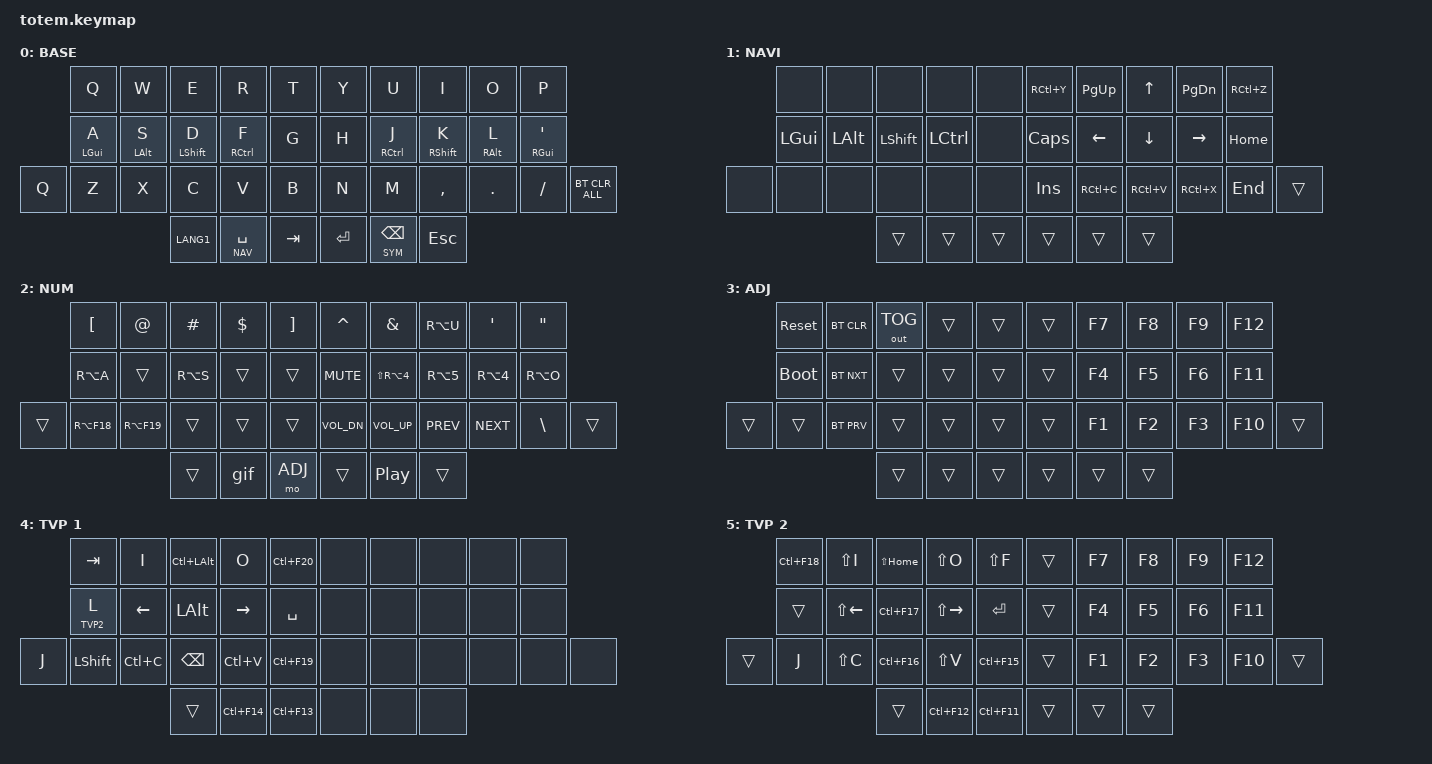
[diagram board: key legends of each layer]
//
//                                                        ▀▀▀▀▀     ▀▀▀▀▀          ▀▀█▀▀
//                                                        ▄▀▀▀▄  ▄  ▄▀▀▀▄  ▄  ▄▀▀▀▄  █  ▄▀▀▀▄
//                                                        █   █  █  █   █  █  █   █  █  █   █
//                                                         ▀▀▀   █   ▀▀▀   █   ▀▀▀   ▀   ▀▀▀
//                                                               █      ▄▄▄█▄▄▄    █   █  
//                                                               ▀      █  █  █     █▄█
//                                                             ▀▀▀▀▀    █  █  █      ▀
//                                                                      ▀  ▀  ▀
//
// ▄▄▄▄▄▄▄▄▄▄▄▄▄▄▄▄▄▄▄▄▄▄▄▄▄▄▄▄▄▄▄▄▄▄▄▄▄▄▄▄▄▄▄▄▄▄▄▄▄▄▄▄▄▄▄▄▄▄▄▄▄▄▄▄▄▄▄▄▄▄▄▄▄▄▄▄▄▄▄▄▄▄▄▄▄▄▄▄▄▄▄▄▄▄▄▄▄▄▄▄▄▄▄▄▄▄▄▄▄▄▄▄▄▄▄▄▄▄▄▄▄▄▄▄▄▄▄▄▄▄▄▄▄▄▄▄▄▄▄▄▄▄▄▄▄▄▄▄▄

#include <behaviors.dtsi>
#include <dt-bindings/zmk/bt.h>
#include <dt-bindings/zmk/keys.h>
#include <dt-bindings/zmk/outputs.h>

#define BASE 0
#define NAV  1
#define SYM  2
#define ADJ  3
#define TVP1 4
#define TVP2 5

&mt {
    quick-tap-ms = <100>;
    global-quick-tap;
    flavor = "tap-preferred";
    tapping-term-ms = <170>;
};

/ {
    combos {
        compatible = "zmk,combos";

        combo_esc {
            timeout-ms = <50>;
            key-positions = <0 1>;
            bindings = <&kp ESC>;
        };

        combo_tvp {
            timeout-ms = <100>;
            key-positions = <11 12 13>;
            bindings = <&tog TVP1>;
        };
    };

    macros {
        gif: gif {
            label = "giphy";
            compatible = "zmk,behavior-macro";
            #binding-cells = <0>;
            bindings =
                <&macro_press>,
                <&kp LSHFT>,
                <&macro_tap>,
                <&kp N2>,
                <&macro_release>,
                <&kp LSHFT>,
                <&macro_tap>,
                <&kp G &kp I &kp F>;
        };
    };

    keymap {
        compatible = "zmk,keymap";

        // ▄▄▄▄▄▄▄▄▄▄▄▄▄▄▄▄▄▄▄▄▄▄▄▄▄▄▄▄▄▄▄▄▄▄▄▄▄▄▄▄▄▄▄▄▄▄▄▄▄▄▄▄▄▄▄▄▄▄▄▄▄▄▄▄▄▄▄▄▄▄▄▄▄▄▄▄▄▄▄▄▄▄▄▄▄▄▄▄▄▄▄▄▄▄▄▄▄▄▄▄▄▄▄▄▄▄▄▄▄▄▄▄▄▄▄▄▄▄▄▄▄▄▄▄▄▄▄▄▄▄▄▄▄▄▄▄▄▄▄▄▄▄▄▄▄▄▄▄▄

        BASE {
            // ┏━━━━━━━━━━━━━━━━━━━━━━━━━━━━━━━━━━━━━━━┓

            label = "BASE";

            // ┗━━━━━━━━━━━━━━━━━━━━━━━━━━━━━━━━━━━━━━━┛
            //             ┏━━━━━━━━━━━┳━━━━━━━━━━━┳━━━━━━━━━━━┳━━━━━━━━━━━┳━━━━━━━━━━━┓   ┏━━━━━━━━━━━┳━━━━━━━━━━━┳━━━━━━━━━━━┳━━━━━━━━━━━┳━━━━━━━━━━━┓
            //             ┃     Q     ┃     W     ┃     F     ┃     P     ┃     G     ┃   ┃     J     ┃     L     ┃     U     ┃     Y     ┃     ;     ┃
            //             ┣━━━━━━━━━━━╋━━━━━━━━━━━╋━━━━━━━━━━━╋━━━━━━━━━━━╋━━━━━━━━━━━┫   ┣━━━━━━━━━━━╋━━━━━━━━━━━╋━━━━━━━━━━━╋━━━━━━━━━━━╋━━━━━━━━━━━┫
            //             ┃     A     ┃     R     ┃     S     ┃     T     ┃     D     ┃   ┃     H     ┃     N     ┃     E     ┃     I     ┃     O     ┃
            // ┏━━━━━━━━━━━╋━━━━━━━━━━━╋━━━━━━━━━━━╋━━━━━━━━━━━╋━━━━━━━━━━━╋━━━━━━━━━━━┫   ┣━━━━━━━━━━━╋━━━━━━━━━━━╋━━━━━━━━━━━╋━━━━━━━━━━━╋━━━━━━━━━━━╋━━━━━━━━━━━┓
            // ┃     Q     ┃     Z     ┃     X     ┃     C     ┃     V     ┃     B     ┃   ┃     K     ┃     M     ┃     ,     ┃     .     ┃     /     ┃     \     ┃
            // ┗━━━━━━━━━━━┻━━━━━━━━━━━┻━━━━━━━━━━━╋━━━━━━━━━━━╋━━━━━━━━━━━╋━━━━━━━━━━━┫   ┣━━━━━━━━━━━╋━━━━━━━━━━━╋━━━━━━━━━━━╋━━━━━━━━━━━┻━━━━━━━━━━━┻━━━━━━━━━━━┛
            //                                     ┃    DEL    ┃    TAB    ┃    SPC    ┃   ┃   ENTER   ┃           ┃   BSPC    ┃
            //                                     ┗━━━━━━━━━━━┻━━━━━━━━━━━┻━━━━━━━━━━━┛   ┗━━━━━━━━━━━┻━━━━━━━━━━━┻━━━━━━━━━━━┛

            bindings = <
       &kp Q       &kp W       &kp E             &kp R          &kp T      &kp Y    &kp U              &kp I              &kp O       &kp P
       &mt LGUI A  &mt LALT S  &mt LEFT_SHIFT D  &mt RCTRL F    &kp G      &kp H    &mt RCTRL J        &mt RIGHT_SHIFT K  &mt RALT L  &mt RGUI SQT
&kp Q  &kp Z       &kp X       &kp C             &kp V          &kp B      &kp N    &kp M              &kp COMMA          &kp DOT     &kp SLASH     &bt BT_CLR_ALL
                               &kp LANG1         &lt NAV SPACE  &kp TAB    &kp RET  &lt SYM BACKSPACE  &kp ESC
            >;
        };

        // ▄▄▄▄▄▄▄▄▄▄▄▄▄▄▄▄▄▄▄▄▄▄▄▄▄▄▄▄▄▄▄▄▄▄▄▄▄▄▄▄▄▄▄▄▄▄▄▄▄▄▄▄▄▄▄▄▄▄▄▄▄▄▄▄▄▄▄▄▄▄▄▄▄▄▄▄▄▄▄▄▄▄▄▄▄▄▄▄▄▄▄▄▄▄▄▄▄▄▄▄▄▄▄▄▄▄▄▄▄▄▄▄▄▄▄▄▄▄▄▄▄▄▄▄▄▄▄▄▄▄▄▄▄▄▄▄▄▄▄▄▄▄▄▄▄▄▄▄▄

        NAV {
            // ┏━━━━━━━━━━━━━━━━━━━━━━━━━━━━━━━━━━━━━━━┓

            label = "NAVI";

            // ┗━━━━━━━━━━━━━━━━━━━━━━━━━━━━━━━━━━━━━━━┛
            //             ┏━━━━━━━━━━━┳━━━━━━━━━━━┳━━━━━━━━━━━┳━━━━━━━━━━━┳━━━━━━━━━━━┓   ┏━━━━━━━━━━━┳━━━━━━━━━━━┳━━━━━━━━━━━┳━━━━━━━━━━━┳━━━━━━━━━━━┓
            //             ┃           ┃           ┃     UP    ┃           ┃     {     ┃   ┃     }     ┃     7     ┃     8     ┃     9     ┃     +     ┃
            //             ┣━━━━━━━━━━━╋━━━━━━━━━━━╋━━━━━━━━━━━╋━━━━━━━━━━━╋━━━━━━━━━━━┫   ┣━━━━━━━━━━━╋━━━━━━━━━━━╋━━━━━━━━━━━╋━━━━━━━━━━━╋━━━━━━━━━━━┫
            //             ┃   SHIFT   ┃   LEFT    ┃    DOWN   ┃   RIGHT   ┃     [     ┃   ┃     ]     ┃     4     ┃     5     ┃     6     ┃     -     ┃
            // ┏━━━━━━━━━━━╋━━━━━━━━━━━╋━━━━━━━━━━━╋━━━━━━━━━━━╋━━━━━━━━━━━╋━━━━━━━━━━━┫   ┣━━━━━━━━━━━╋━━━━━━━━━━━╋━━━━━━━━━━━╋━━━━━━━━━━━╋━━━━━━━━━━━╋━━━━━━━━━━━┓
            // ┃           ┃           ┃   P UP    ┃  C LOCK   ┃  P DOWN   ┃     (     ┃   ┃     )     ┃     1     ┃     2     ┃     3     ┃     *     ┃           ┃
            // ┗━━━━━━━━━━━┻━━━━━━━━━━━┻━━━━━━━━━━━╋━━━━━━━━━━━╋━━━━━━━━━━━╋━━━━━━━━━━━┫   ┣━━━━━━━━━━━╋━━━━━━━━━━━╋━━━━━━━━━━━╋━━━━━━━━━━━┻━━━━━━━━━━━┻━━━━━━━━━━━┛
            //                                     ┃           ┃    TAB    ┃    SPC    ┃   ┃    DEL    ┃     0     ┃           ┃
            //                                     ┗━━━━━━━━━━━┻━━━━━━━━━━━┻━━━━━━━━━━━┛   ┗━━━━━━━━━━━┻━━━━━━━━━━━┻━━━━━━━━━━━┛

            bindings = <
       &none         &none         &none           &none      &none     &kp RC(Y)     &kp PG_UP  &kp UP     &kp PAGE_DOWN  &kp RC(Z)
       &kp LEFT_GUI  &kp LEFT_ALT  &kp LEFT_SHIFT  &kp LCTRL  &none     &kp CAPSLOCK  &kp LEFT   &kp DOWN   &kp RIGHT      &kp HOME
&none  &none         &none         &none           &none      &none     &kp INSERT    &kp RC(C)  &kp RC(V)  &kp RC(X)      &kp END    &trans
                                   &trans          &trans     &trans    &trans        &trans     &trans
            >;
        };

        // ▄▄▄▄▄▄▄▄▄▄▄▄▄▄▄▄▄▄▄▄▄▄▄▄▄▄▄▄▄▄▄▄▄▄▄▄▄▄▄▄▄▄▄▄▄▄▄▄▄▄▄▄▄▄▄▄▄▄▄▄▄▄▄▄▄▄▄▄▄▄▄▄▄▄▄▄▄▄▄▄▄▄▄▄▄▄▄▄▄▄▄▄▄▄▄▄▄▄▄▄▄▄▄▄▄▄▄▄▄▄▄▄▄▄▄▄▄▄▄▄▄▄▄▄▄▄▄▄▄▄▄▄▄▄▄▄▄▄▄▄▄▄▄▄▄▄▄▄▄

        NUM {
            // ┏━━━━━━━━━━━━━━━━━━━━━━━━━━━━━━━━━━━━━━━┓

            label = "NUM";

            // ┗━━━━━━━━━━━━━━━━━━━━━━━━━━━━━━━━━━━━━━━┛
            //             ┏━━━━━━━━━━━┳━━━━━━━━━━━┳━━━━━━━━━━━┳━━━━━━━━━━━┳━━━━━━━━━━━┓   ┏━━━━━━━━━━━┳━━━━━━━━━━━┳━━━━━━━━━━━┳━━━━━━━━━━━┳━━━━━━━━━━━┓
            //             ┃     !     ┃     @     ┃     #     ┃     $     ┃     %     ┃   ┃     ˆ     ┃     &     ┃     Ü     ┃     '     ┃     "     ┃
            //             ┣━━━━━━━━━━━╋━━━━━━━━━━━╋━━━━━━━━━━━╋━━━━━━━━━━━╋━━━━━━━━━━━┫   ┣━━━━━━━━━━━╋━━━━━━━━━━━╋━━━━━━━━━━━╋━━━━━━━━━━━╋━━━━━━━━━━━┫
            //             ┃     Ä     ┃           ┃    SZ     ┃           ┃           ┃   ┃   MUTE    ┃   YEN     ┃   EURO    ┃  POUND    ┃     Ö     ┃
            // ┏━━━━━━━━━━━╋━━━━━━━━━━━╋━━━━━━━━━━━╋━━━━━━━━━━━╋━━━━━━━━━━━╋━━━━━━━━━━━┫   ┣━━━━━━━━━━━╋━━━━━━━━━━━╋━━━━━━━━━━━╋━━━━━━━━━━━╋━━━━━━━━━━━╋━━━━━━━━━━━┓
            // ┃           ┃  EMAIL1   ┃  EMAIL2   ┃           ┃           ┃           ┃   ┃   VOL-    ┃   VOL+    ┃   LAST    ┃   NEXT    ┃     \     ┃           ┃
            // ┗━━━━━━━━━━━┻━━━━━━━━━━━┻━━━━━━━━━━━╋━━━━━━━━━━━╋━━━━━━━━━━━╋━━━━━━━━━━━┫   ┣━━━━━━━━━━━╋━━━━━━━━━━━╋━━━━━━━━━━━╋━━━━━━━━━━━┻━━━━━━━━━━━┻━━━━━━━━━━━┛
            //                                     ┃           ┃    GIF    ┃    ADJ    ┃   ┃           ┃           ┃           ┃
            //                                     ┗━━━━━━━━━━━┻━━━━━━━━━━━┻━━━━━━━━━━━┛   ┗━━━━━━━━━━━┻━━━━━━━━━━━┻━━━━━━━━━━━┛

            bindings = <
        &kp LEFT_BRACKET  &kp AT       &kp HASH   &kp DLLR  &kp RIGHT_BRACKET    &kp CARET     &kp AMPS        &kp RA(U)   &kp SQT     &kp DQT
        &kp RA(A)         &trans       &kp RA(S)  &trans    &trans               &kp C_MUTE    &kp LS(RA(N4))  &kp RA(N5)  &kp RA(N4)  &kp RA(O)
&trans  &kp RA(F18)       &kp RA(F19)  &trans     &trans    &trans               &kp C_VOL_DN  &kp C_VOL_UP    &kp C_PREV  &kp C_NEXT  &kp BSLH   &trans
                                       &trans     &gif      &mo ADJ              &trans        &kp C_PP        &trans
            >;
        };

        // ▄▄▄▄▄▄▄▄▄▄▄▄▄▄▄▄▄▄▄▄▄▄▄▄▄▄▄▄▄▄▄▄▄▄▄▄▄▄▄▄▄▄▄▄▄▄▄▄▄▄▄▄▄▄▄▄▄▄▄▄▄▄▄▄▄▄▄▄▄▄▄▄▄▄▄▄▄▄▄▄▄▄▄▄▄▄▄▄▄▄▄▄▄▄▄▄▄▄▄▄▄▄▄▄▄▄▄▄▄▄▄▄▄▄▄▄▄▄▄▄▄▄▄▄▄▄▄▄▄▄▄▄▄▄▄▄▄▄▄▄▄▄▄▄▄▄▄▄▄

        adjust_layer {
            // ┏━━━━━━━━━━━━━━━━━━━━━━━━━━━━━━━━━━━━━━━┓

            label = "ADJ";

            // ┗━━━━━━━━━━━━━━━━━━━━━━━━━━━━━━━━━━━━━━━┛
            //             ┏━━━━━━━━━━━┳━━━━━━━━━━━┳━━━━━━━━━━━┳━━━━━━━━━━━┳━━━━━━━━━━━┓   ┏━━━━━━━━━━━┳━━━━━━━━━━━┳━━━━━━━━━━━┳━━━━━━━━━━━┳━━━━━━━━━━━┓
            //             ┃   RESET   ┃ BT CLEAR  ┃  OUT TOG  ┃           ┃           ┃   ┃           ┃    F7     ┃    F8     ┃    F9     ┃    F12    ┃
            //             ┣━━━━━━━━━━━╋━━━━━━━━━━━╋━━━━━━━━━━━╋━━━━━━━━━━━╋━━━━━━━━━━━┫   ┣━━━━━━━━━━━╋━━━━━━━━━━━╋━━━━━━━━━━━╋━━━━━━━━━━━╋━━━━━━━━━━━┫
            //             ┃ BOOTLOAD  ┃ BT NEXT   ┃           ┃           ┃           ┃   ┃           ┃    F4     ┃    F5     ┃    F6     ┃    F11    ┃
            // ┏━━━━━━━━━━━╋━━━━━━━━━━━╋━━━━━━━━━━━╋━━━━━━━━━━━╋━━━━━━━━━━━╋━━━━━━━━━━━┫   ┣━━━━━━━━━━━╋━━━━━━━━━━━╋━━━━━━━━━━━╋━━━━━━━━━━━╋━━━━━━━━━━━╋━━━━━━━━━━━┓
            // ┃           ┃           ┃ BT PREV   ┃           ┃           ┃           ┃   ┃           ┃    F1     ┃    F2     ┃    F3     ┃    F10    ┃           ┃
            // ┗━━━━━━━━━━━┻━━━━━━━━━━━┻━━━━━━━━━━━╋━━━━━━━━━━━╋━━━━━━━━━━━╋━━━━━━━━━━━┫   ┣━━━━━━━━━━━╋━━━━━━━━━━━╋━━━━━━━━━━━╋━━━━━━━━━━━┻━━━━━━━━━━━┻━━━━━━━━━━━┛
            //                                     ┃           ┃           ┃           ┃   ┃           ┃           ┃           ┃
            //                                     ┗━━━━━━━━━━━┻━━━━━━━━━━━┻━━━━━━━━━━━┛   ┗━━━━━━━━━━━┻━━━━━━━━━━━┻━━━━━━━━━━━┛

            bindings = <
        &sys_reset   &bt BT_CLR  &out OUT_TOG  &trans  &trans    &trans  &kp F7  &kp F8  &kp F9  &kp F12
        &bootloader  &bt BT_NXT  &trans        &trans  &trans    &trans  &kp F4  &kp F5  &kp F6  &kp F11
&trans  &trans       &bt BT_PRV  &trans        &trans  &trans    &trans  &kp F1  &kp F2  &kp F3  &kp F10  &trans
                                 &trans        &trans  &trans    &trans  &trans  &trans
            >;
        };

        // ▄▄▄▄▄▄▄▄▄▄▄▄▄▄▄▄▄▄▄▄▄▄▄▄▄▄▄▄▄▄▄▄▄▄▄▄▄▄▄▄▄▄▄▄▄▄▄▄▄▄▄▄▄▄▄▄▄▄▄▄▄▄▄▄▄▄▄▄▄▄▄▄▄▄▄▄▄▄▄▄▄▄▄▄▄▄▄▄▄▄▄▄▄▄▄▄▄▄▄▄▄▄▄▄▄▄▄▄▄▄▄▄▄▄▄▄▄▄▄▄▄▄▄▄▄▄▄▄▄▄▄▄▄▄▄▄▄▄▄▄▄▄▄▄▄▄▄▄▄

        tvp1_layer {
            // ┏━━━━━━━━━━━━━━━━━━━━━━━━━━━━━━━━━━━━━━━┓

            label = "TVP 1";

            // ┗━━━━━━━━━━━━━━━━━━━━━━━━━━━━━━━━━━━━━━━┛
            //             ┏━━━━━━━━━━━┳━━━━━━━━━━━┳━━━━━━━━━━━┳━━━━━━━━━━━┳━━━━━━━━━━━┓   ┏━━━━━━━━━━━┳━━━━━━━━━━━┳━━━━━━━━━━━┳━━━━━━━━━━━┳━━━━━━━━━━━┓
            //             ┃ NEXT FILE ┃ MARK IN   ┃ ROTATE    ┃ MARK OUT  ┃ SHOW SNAP ┃   ┃           ┃           ┃           ┃           ┃           ┃
            //             ┣━━━━━━━━━━━╋━━━━━━━━━━━╋━━━━━━━━━━━╋━━━━━━━━━━━╋━━━━━━━━━━━┫   ┣━━━━━━━━━━━╋━━━━━━━━━━━╋━━━━━━━━━━━╋━━━━━━━━━━━╋━━━━━━━━━━━┫
            //             ┃ TVP II    ┃ LEFT      ┃ PAN       ┃ RIGHT     ┃ PLAY/FLIP ┃   ┃           ┃           ┃           ┃           ┃           ┃
            // ┏━━━━━━━━━━━╋━━━━━━━━━━━╋━━━━━━━━━━━╋━━━━━━━━━━━╋━━━━━━━━━━━╋━━━━━━━━━━━┫   ┣━━━━━━━━━━━╋━━━━━━━━━━━╋━━━━━━━━━━━╋━━━━━━━━━━━╋━━━━━━━━━━━╋━━━━━━━━━━━┓
            // ┃ FULLSCR   ┃ SHIFT     ┃ COPY      ┃ DELETE    ┃ PASTE     ┃ IMG MARK  ┃   ┃           ┃           ┃           ┃           ┃           ┃           ┃
            // ┗━━━━━━━━━━━┻━━━━━━━━━━━┻━━━━━━━━━━━╋━━━━━━━━━━━╋━━━━━━━━━━━╋━━━━━━━━━━━┫   ┣━━━━━━━━━━━╋━━━━━━━━━━━╋━━━━━━━━━━━╋━━━━━━━━━━━┻━━━━━━━━━━━┻━━━━━━━━━━━┛
            //                                     ┃           ┃ UNDO/SAVE ┃  SEL/MOV  ┃   ┃           ┃           ┃           ┃
            //                                     ┗━━━━━━━━━━━┻━━━━━━━━━━━┻━━━━━━━━━━━┛   ┗━━━━━━━━━━━┻━━━━━━━━━━━┻━━━━━━━━━━━┛

            bindings = <
       &kp TAB     &kp I      &kp LC(LALT)  &kp O        &kp LC(F20)    &none  &none  &none  &none  &none
       &lt TVP2 L  &kp LEFT   &kp LALT      &kp RIGHT    &kp SPACE      &none  &none  &none  &none  &none
&kp J  &kp LSHFT   &kp LC(C)  &kp BSPC      &kp LC(V)    &kp LC(F19)    &none  &none  &none  &none  &none  &none
                              &trans        &kp LC(F14)  &kp LC(F13)    &none  &none  &none
            >;
        };

        // ▄▄▄▄▄▄▄▄▄▄▄▄▄▄▄▄▄▄▄▄▄▄▄▄▄▄▄▄▄▄▄▄▄▄▄▄▄▄▄▄▄▄▄▄▄▄▄▄▄▄▄▄▄▄▄▄▄▄▄▄▄▄▄▄▄▄▄▄▄▄▄▄▄▄▄▄▄▄▄▄▄▄▄▄▄▄▄▄▄▄▄▄▄▄▄▄▄▄▄▄▄▄▄▄▄▄▄▄▄▄▄▄▄▄▄▄▄▄▄▄▄▄▄▄▄▄▄▄▄▄▄▄▄▄▄▄▄▄▄▄▄▄▄▄▄▄▄▄▄

        tvp2_layer {
            // ┏━━━━━━━━━━━━━━━━━━━━━━━━━━━━━━━━━━━━━━━┓

            label = "TVP 2";

            // ┗━━━━━━━━━━━━━━━━━━━━━━━━━━━━━━━━━━━━━━━┛
            //             ┏━━━━━━━━━━━┳━━━━━━━━━━━┳━━━━━━━━━━━┳━━━━━━━━━━━┳━━━━━━━━━━━┓   ┏━━━━━━━━━━━┳━━━━━━━━━━━┳━━━━━━━━━━━┳━━━━━━━━━━━┳━━━━━━━━━━━┓
            //             ┃ SOLO      ┃ TOGGLE IN ┃ RESET ROT ┃ TOGGLE OUT┃ TAKE SNAP ┃   ┃           ┃           ┃           ┃           ┃           ┃
            //             ┣━━━━━━━━━━━╋━━━━━━━━━━━╋━━━━━━━━━━━╋━━━━━━━━━━━╋━━━━━━━━━━━┫   ┣━━━━━━━━━━━╋━━━━━━━━━━━╋━━━━━━━━━━━╋━━━━━━━━━━━╋━━━━━━━━━━━┫
            //             ┃ ---       ┃ LAST KEY  ┃ NEW KEY   ┃ NEXT KEY  ┃ ENTER     ┃   ┃           ┃           ┃           ┃           ┃           ┃
            // ┏━━━━━━━━━━━╋━━━━━━━━━━━╋━━━━━━━━━━━╋━━━━━━━━━━━╋━━━━━━━━━━━╋━━━━━━━━━━━┫   ┣━━━━━━━━━━━╋━━━━━━━━━━━╋━━━━━━━━━━━╋━━━━━━━━━━━╋━━━━━━━━━━━╋━━━━━━━━━━━┓
            // ┃           ┃ FULLSCR   ┃ CPY2BRUSH ┃ DEL HEAD  ┃ PSTinPLACE┃ BOOK MARK ┃   ┃           ┃           ┃           ┃           ┃           ┃           ┃
            // ┗━━━━━━━━━━━┻━━━━━━━━━━━┻━━━━━━━━━━━╋━━━━━━━━━━━╋━━━━━━━━━━━╋━━━━━━━━━━━┫   ┣━━━━━━━━━━━╋━━━━━━━━━━━╋━━━━━━━━━━━╋━━━━━━━━━━━┻━━━━━━━━━━━┻━━━━━━━━━━━┛
            //                                     ┃           ┃ REDO/SAV1 ┃TRANS/WARP ┃   ┃           ┃           ┃           ┃
            //                                     ┗━━━━━━━━━━━┻━━━━━━━━━━━┻━━━━━━━━━━━┛   ┗━━━━━━━━━━━┻━━━━━━━━━━━┻━━━━━━━━━━━┛

            bindings = <
        &kp LC(F18)  &kp LS(I)     &kp LS(HOME)  &kp LS(O)      &kp LS(F)      &trans  &kp F7  &kp F8  &kp F9  &kp F12
        &trans       &kp LS(LEFT)  &kp LC(F17)   &kp LS(RIGHT)  &kp RET        &trans  &kp F4  &kp F5  &kp F6  &kp F11
&trans  &kp J        &kp LS(C)     &kp LC(F16)   &kp LS(V)      &kp LC(F15)    &trans  &kp F1  &kp F2  &kp F3  &kp F10  &trans
                                   &trans        &kp LC(F12)    &kp LC(F11)    &trans  &trans  &trans
            >;
        };
    };
};
